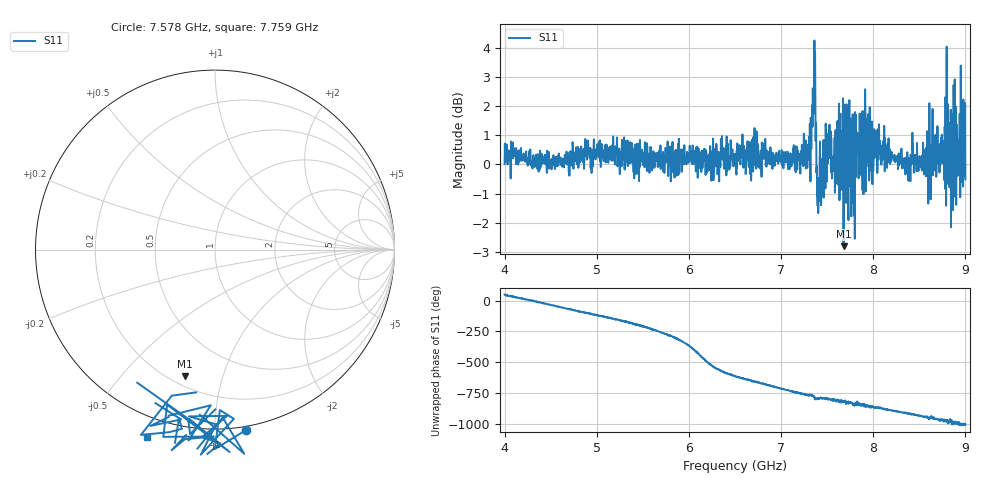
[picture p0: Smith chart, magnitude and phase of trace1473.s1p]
! Created with skrf 1.8.0 (http://scikit-rf.org).
# Hz S RI R 50.0
!freq ReS11 ImS11
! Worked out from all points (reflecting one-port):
!   1601 points, 4 GHz to 9 GHz, reference 50 ohm
!   lowest |S11| = -2.8 dB at 7.678 GHz (marker M1), VSWR 6.24, Z = 12.8 - j37.9 ohm
!   phase of S11 starts at 49 deg and turns -1054 deg over the sweep
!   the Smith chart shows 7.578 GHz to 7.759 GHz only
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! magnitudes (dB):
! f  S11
! 4 GHz  0.0
! 4.625 GHz  -0.1
! 5.25 GHz  -0.3
! 5.875 GHz  0.4
! 6.5 GHz  0.1
! 6.725 GHz  0.3
! 7.125 GHz  0.1
! 7.294 GHz  0.2
! 7.356 GHz  2.6
! 7.412 GHz  -1.2
! 7.509 GHz  0.0
! 7.575 GHz  0.3
! 7.65 GHz  1.1
! 7.678 GHz  -2.8
! 7.75 GHz  0.4
! 7.784 GHz  0.1
! 7.828 GHz  1.1
! 7.881 GHz  1.8
! 7.962 GHz  2.0
! 8.375 GHz  -0.3
! 8.441 GHz  -0.3
! 8.575 GHz  0.6
! 8.656 GHz  0.5
! 8.825 GHz  1.4
! 8.872 GHz  2.7
! 8.919 GHz  0.1
! 8.959 GHz  2.0
! 9 GHz  -0.5
